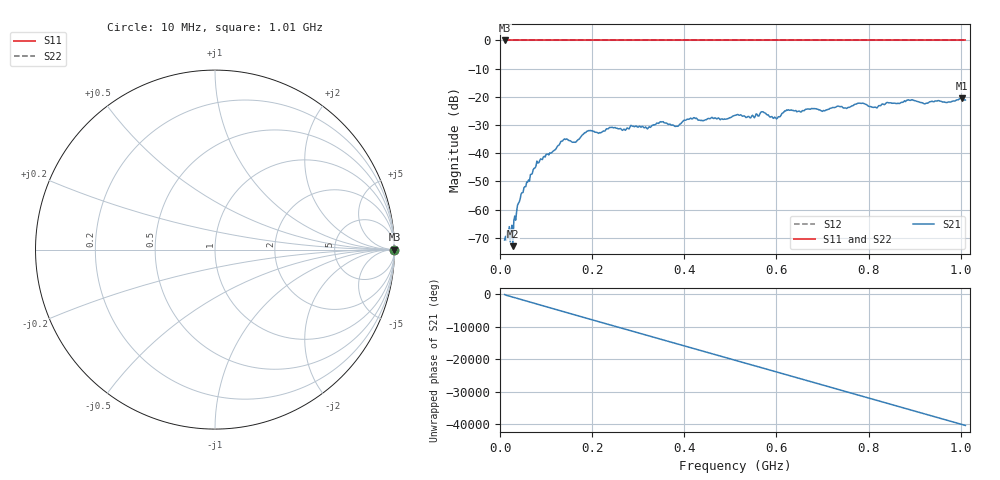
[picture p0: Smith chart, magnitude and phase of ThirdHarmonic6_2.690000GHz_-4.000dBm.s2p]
! 8/17/2025 6:22:28 AM
! C:\ANRITSUVNA\TEMP\TEMP.S2P
! CHANNEL.1
! TR.MEASUREMENT
! RAW.DATA
! RF.CORRECTION.OFF
! AVERAGING.OFF
! IF.BANDWIDTH: 5KHZ
! SWEEPTYPE:  FREQ.SWEEP(Linear)
! Reference Plane Port Info
! PORT:  PORT1  PORT2
! DISTANCE:  0  m  0  m
! TIME:  0  s  0  s
! PHASE.OFFSET:  0  deg.  0  deg.
! LOSS:  0  dB  0  dB
! REF.LOSS:  0  dB  0  dB
! REF.FREQ:  0  Hz  0  Hz
! Power Info
! POWER:  -20  dBm  -20  dBm
! EFF.POWER:  -20  dBm  -20  dBm
! SOURCE.ATTEN:  0  dB  0  dB
! TEST.ATTEN:  0  dB  0  dB
# GHZ S RI R 50.0
! FREQ.GHZ  S11RE  S11IM  S21RE  S21IM  S12RE  S12IM  S22RE  S22IM
!; PortSelection: Port_12
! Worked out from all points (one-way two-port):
!   501 points, 10 MHz to 1.01 GHz, reference 50 ohm
!   highest |S21| = -20.54 dB at 1.002 GHz (marker M1); lowest = -72.9 dB at 28 MHz (marker M2)
!   lowest |S11| = 0.0 dB at 10 MHz (marker M3)
!   |S11| at or under -10 dB: nowhere
!   |S22| runs from 0.0 to 0.0 dB; largest |S21 - S12| = 1.1
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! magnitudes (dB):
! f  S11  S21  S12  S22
! 10 MHz  0.0  -70.7  0.0  0.0
! 26 MHz  0.0  -65.5  0.0  0.0
! 28 MHz  0.0  -72.9  0.0  0.0
! 48 MHz  0.0  -54.0  0.0  0.0
! 84 MHz  0.0  -43.4  0.0  0.0
! 136 MHz  0.0  -35.6  0.0  0.0
! 162 MHz  0.0  -36.1  0.0  0.0
! 178 MHz  0.0  -33.6  0.0  0.0
! 192 MHz  0.0  -32.0  0.0  0.0
! 344 MHz  0.0  -29.4  0.0  0.0
! 384 MHz  0.0  -30.4  0.0  0.0
! 410 MHz  0.0  -27.9  0.0  0.0
! 510 MHz  0.0  -26.5  0.0  0.0
! 570 MHz  0.0  -25.3  0.0  0.0
! 598 MHz  0.0  -27.5  0.0  0.0
! 622 MHz  0.0  -24.7  0.0  0.0
! 678 MHz  0.0  -24.2  0.0  0.0
! 780 MHz  0.0  -22.2  0.0  0.0
! 814 MHz  0.0  -23.6  0.0  0.0
! 844 MHz  0.0  -22.2  0.0  0.0
! 1.002 GHz  0.0  -20.5  0.0  0.0
! 1.01 GHz  0.0  -21.1  0.0  0.0
